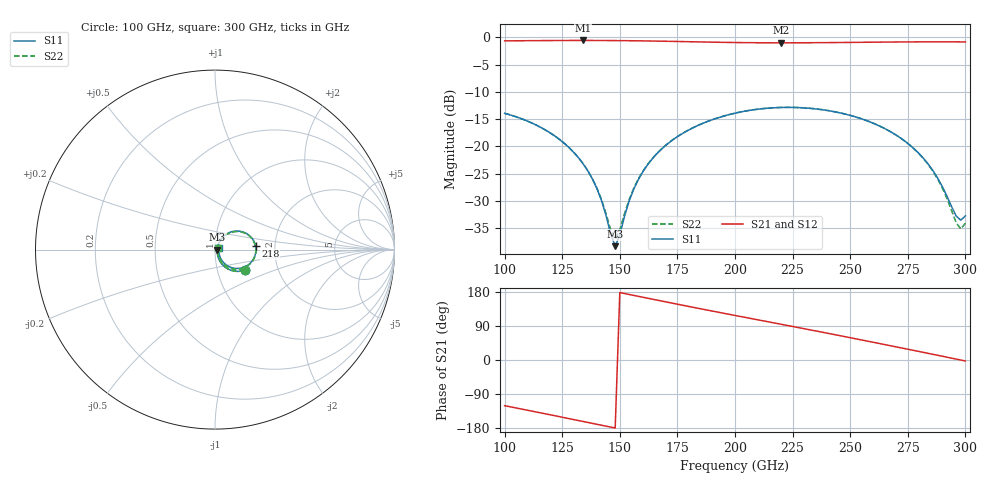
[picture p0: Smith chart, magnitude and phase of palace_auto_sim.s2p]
#  GHZ S DB R 50
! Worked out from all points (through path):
!   101 points, 100 GHz to 300 GHz, reference 50 ohm
!   highest |S21| = -0.57 dB at 134 GHz (marker M1); lowest = -1.0 dB at 220 GHz (marker M2)
!   group delay of S21, straight-line fit = 3.34 ps
!   lowest |S11| = -38.3 dB at 148 GHz (marker M3), VSWR 1.02, Z = 51.2 - j0.11 ohm
!   |S11| at or under -10 dB: start of sweep to end of sweep
!   |S22| runs from -37.0 to -12.8 dB; largest |S21 - S12| = 1.1e-14
!   S11 on the Smith chart (normalised r, x): 100 GHz: 1.35, -0.32; 218 GHz: 1.58, +0.07; 300 GHz: 1.04, +0.02
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100  -13.93 -34.7  -0.65 -120.6  -0.65 -120.6  -13.93 -34.7
120  -17.58 -55.6  -0.59 -144.9  -0.59 -144.9  -17.58 -55.3
134  -23.14 -67.1  -0.57 -162.2  -0.57 -162.2  -23.12 -66.1
140  -27.66 -67.0  -0.58 -169.6  -0.58 -169.6  -27.57 -65.0
146  -36.00 -41.0  -0.59 -177.0  -0.59 -177.0  -35.25 -36.9
148  -38.29 -5.0  -0.60 -179.5  -0.60 -179.5  -37.00 -4.6
150  -36.25 32.1  -0.60 178.0  -0.60 178.0  -35.33 28.0
156  -27.89 59.8  -0.63 170.6  -0.63 170.6  -27.71 56.6
162  -23.40 60.1  -0.67 163.2  -0.67 163.2  -23.33 57.9
168  -20.54 56.3  -0.71 155.8  -0.71 155.8  -20.49 54.4
182  -16.54 43.5  -0.82 138.8  -0.82 138.8  -16.52 42.0
200  -13.91 24.9  -0.95 117.6  -0.95 117.6  -13.90 23.6
218  -12.89 5.2  -1.00 96.6  -1.00 96.6  -12.88 3.8
220  -12.86 3.0  -1.01 94.3  -1.01 94.3  -12.85 1.6
234  -13.08 -12.4  -0.99 77.9  -0.99 77.9  -13.07 -13.9
250  -14.31 -29.7  -0.93 58.9  -0.93 58.9  -14.30 -31.5
268  -17.43 -47.8  -0.86 37.1  -0.86 37.1  -17.42 -50.1
282  -22.29 -57.3  -0.83 19.8  -0.83 19.8  -22.34 -60.8
290  -27.38 -53.1  -0.83 9.9  -0.83 9.9  -27.63 -58.5
296  -32.76 -23.3  -0.83 2.4  -0.83 2.4  -33.98 -29.3
298  -33.52 -1.7  -0.84 -0.1  -0.84 -0.1  -35.12 -3.8
300  -32.74 19.6  -0.84 -2.6  -0.84 -2.6  -34.10 22.0
